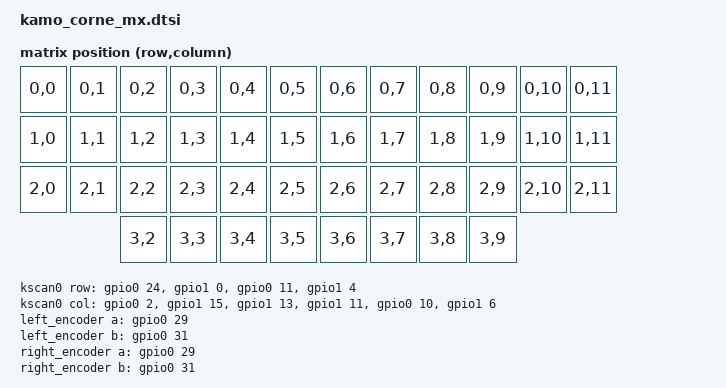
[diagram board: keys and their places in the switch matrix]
#include <dt-bindings/zmk/matrix_transform.h>
#include <dt-bindings/led/led.h>

#include "kamo_corne_mx_layouts.dtsi"

&pinctrl {
    spi3_default: spi3_default {
        group1 {
            psels = <NRF_PSEL(SPIM_MOSI, 0, 22)>;
        };
    };

    spi3_sleep: spi3_sleep {
        group1 {
            psels = <NRF_PSEL(SPIM_MOSI, 0, 22)>;
            low-power-enable;
        };
    };
};

&spi3 {
    compatible = "nordic,nrf-spim";
    status = "okay";

    pinctrl-0 = <&spi3_default>;
    pinctrl-1 = <&spi3_sleep>;
    pinctrl-names = "default", "sleep";

    led_strip: ws2812@0 {
        compatible = "worldsemi,ws2812-spi";

        zephyr,pm-device-runtime-auto;

        /* SPI */
        reg = <0>; /* ignored, but necessary for SPI bindings */
        spi-max-frequency = <4000000>;

        /* WS2812 */
        chain-length = <21>; /* 0 underglow, 18 per-key LEDs per side*/
        spi-one-frame = <0x70>;
        spi-zero-frame = <0x40>;

        color-mapping = <LED_COLOR_ID_GREEN LED_COLOR_ID_RED LED_COLOR_ID_BLUE>;
    };
};

&pro_micro_i2c {
    status = "okay";

    oled: ssd1306@3c {
        compatible = "solomon,ssd1306fb";
        zephyr,pm-device-runtime-auto;
        reg = <0x3c>;
        width = <128>;
        height = <32>;
        segment-offset = <0>;
        page-offset = <0>;
        display-offset = <0>;
        multiplex-ratio = <31>;
        segment-remap;
        com-invdir;
        com-sequential;
        inversion-on;
        prechargep = <0x22>;
    };
};

&physical_layout0 {
    kscan = <&kscan0>; // Label of the kscan node this layout uses
    transform = <&default_transform>; // Label of the matrix transform this layout uses
};

/ {
    chosen {
        zmk,kscan = &kscan0;
        zmk,underglow = &led_strip;
        zmk,physical-layout = &physical_layout0;
        zephyr,display = &oled;
    };

    default_transform: keymap_transform_0 {
        compatible = "zmk,matrix-transform";
        columns = <12>;
        rows = <4>;
// | SW1  | SW2  | SW3  | SW4  | SW5  |   | SW6  | SW5  | SW4  | SW3  | SW2  |
// | SW7  | SW8  | SW9  | SW10 | SW11 |   | SW12 | SW11 | SW10 | SW9  | SW8  |
// | SW12 | SW13 | SW14 | SW15 | SW16 |   | SW18 | SW17 | SW16 | SW15 | SW14 |
//               | SW17 | SW18 | SW19 |   | SW21 | SW20 | SW19 |
        map = <
RC(0,0) RC(0,1) RC(0,2) RC(0,3) RC(0,4) RC(0,5)  RC(0,6) RC(0,7) RC(0,8) RC(0,9) RC(0,10) RC(0,11)
RC(1,0) RC(1,1) RC(1,2) RC(1,3) RC(1,4) RC(1,5)  RC(1,6) RC(1,7) RC(1,8) RC(1,9) RC(1,10) RC(1,11)
RC(2,0) RC(2,1) RC(2,2) RC(2,3) RC(2,4) RC(2,5)  RC(2,6) RC(2,7) RC(2,8) RC(2,9) RC(2,10) RC(2,11)
                RC(3,2) RC(3,3) RC(3,4) RC(3,5)  RC(3,6) RC(3,7) RC(3,8) RC(3,9)
        >;
    };

    kscan0: kscan {
        compatible = "zmk,kscan-gpio-matrix";
        label = "KSCAN";

        diode-direction = "row2col";
        row-gpios
            = <&gpio0 24 GPIO_ACTIVE_HIGH>
            , <&gpio1 0 GPIO_ACTIVE_HIGH>
            , <&gpio0 11 GPIO_ACTIVE_HIGH>
            , <&gpio1 4 GPIO_ACTIVE_HIGH>
            ;
        col-gpios
            = <&gpio0 2 (GPIO_ACTIVE_HIGH | GPIO_PULL_DOWN)>
            , <&gpio1 15 (GPIO_ACTIVE_HIGH | GPIO_PULL_DOWN)>
            , <&gpio1 13 (GPIO_ACTIVE_HIGH | GPIO_PULL_DOWN)>
            , <&gpio1 11 (GPIO_ACTIVE_HIGH | GPIO_PULL_DOWN)>
            , <&gpio0 10 (GPIO_ACTIVE_HIGH | GPIO_PULL_DOWN)>
            , <&gpio1 6 (GPIO_ACTIVE_HIGH | GPIO_PULL_DOWN)>
            ;
    };

    left_encoder: encoder_left {
        compatible = "alps,ec11";
        a-gpios = <&gpio0 29 (GPIO_ACTIVE_LOW)>;
        b-gpios = <&gpio0 31 (GPIO_ACTIVE_LOW)>;
        steps = <72>;
        status = "disabled";
    };

    right_encoder: encoder_right {
        compatible = "alps,ec11";
        a-gpios = <&gpio0 29 (GPIO_ACTIVE_LOW)>;
        b-gpios = <&gpio0 31 (GPIO_ACTIVE_LOW)>;
        steps = <72>;
        status = "disabled";
    };

    sensors: sensors {
        compatible = "zmk,keymap-sensors";
        sensors = <&left_encoder &right_encoder>;
        triggers-per-rotation = <36>;
        status = "okay";
    };

};
